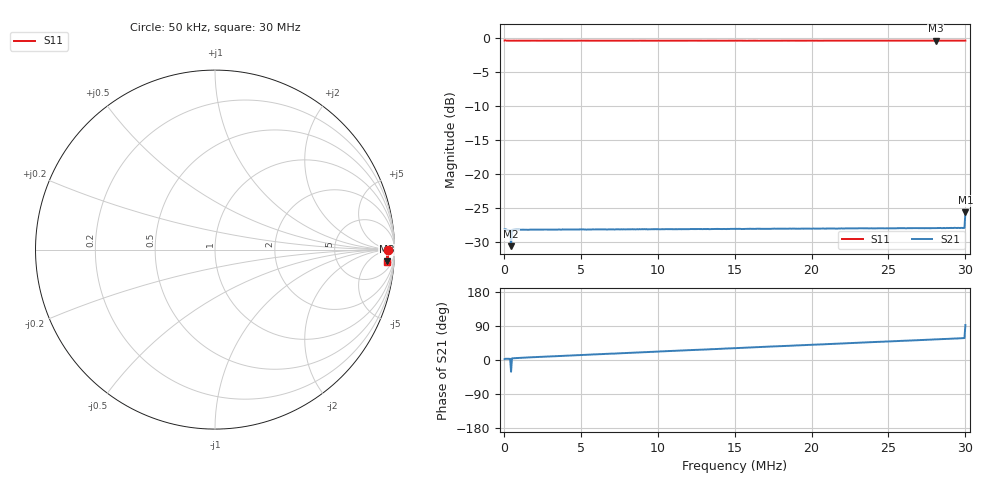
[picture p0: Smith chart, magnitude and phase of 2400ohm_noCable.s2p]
# HZ S RI R 50
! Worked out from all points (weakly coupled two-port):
!   501 points, 50 kHz to 30 MHz, reference 50 ohm
!   highest |S21| = -25.61 dB at 30 MHz (marker M1); lowest = -30.6 dB at 469.3 kHz (marker M2)
!   lowest |S11| = -0.4 dB at 28.08 MHz (marker M3), VSWR 48.13, Z = 649 - j1.07e+03 ohm
!   |S11| at or under -10 dB: nowhere
!   S12 and S22 are empty: the file has one direction only
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50000  0.9629 -0.00411  0.0392 0.00149  0 0  0 0
289600  0.9597 -0.000868  0.0387 0.00217  0 0  0 0
349500  0.9601 -0.00146  0.0385 0.00201  0 0  0 0
469300  0.9601 -0.00112  0.0254 -0.0152  0 0  0 0
589100  0.9622 -0.000763  0.0389 0.00309  0 0  0 0
649000  0.9616 -0.00141  0.039 0.00315  0 0  0 0
708900  0.9614 -0.00144  0.039 0.00326  0 0  0 0
4542500  0.96 -0.0105  0.0383 0.00832  0 0  0 0
5081600  0.9612 -0.0126  0.0382 0.00893  0 0  0 0
5441000  0.9611 -0.0129  0.0381 0.00935  0 0  0 0
6279600  0.9607 -0.0142  0.0379 0.0105  0 0  0 0
1.00533e7  0.9606 -0.0236  0.0365 0.0149  0 0  0 0
1.5025e7  0.9605 -0.0349  0.0339 0.0205  0 0  0 0
2.00566e7  0.9597 -0.0461  0.0303 0.0257  0 0  0 0
2.05358e7  0.9599 -0.0467  0.0302 0.0262  0 0  0 0
2.16739e7  0.9588 -0.0492  0.0291 0.0272  0 0  0 0
2.31714e7  0.9591 -0.0536  0.0279 0.0287  0 0  0 0
2.50283e7  0.9585 -0.0582  0.0262 0.0302  0 0  0 0
2.72446e7  0.9583 -0.0623  0.0241 0.0321  0 0  0 0
2.80832e7  0.957 -0.0656  0.0233 0.0327  0 0  0 0
2.98203e7  0.9579 -0.0694  0.0216 0.0339  0 0  0 0
3e7  0.9592 -0.0705  -0.00214 0.0524  0 0  0 0
